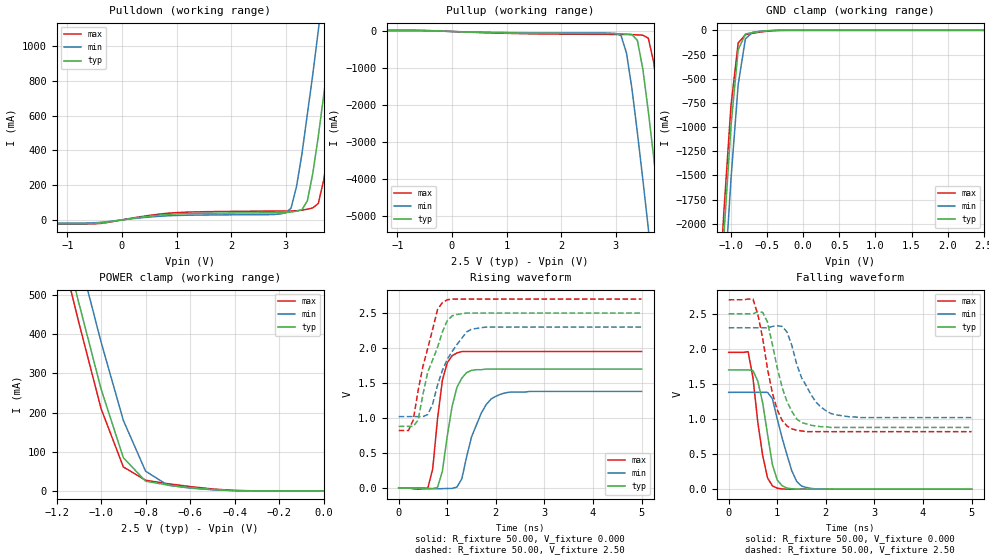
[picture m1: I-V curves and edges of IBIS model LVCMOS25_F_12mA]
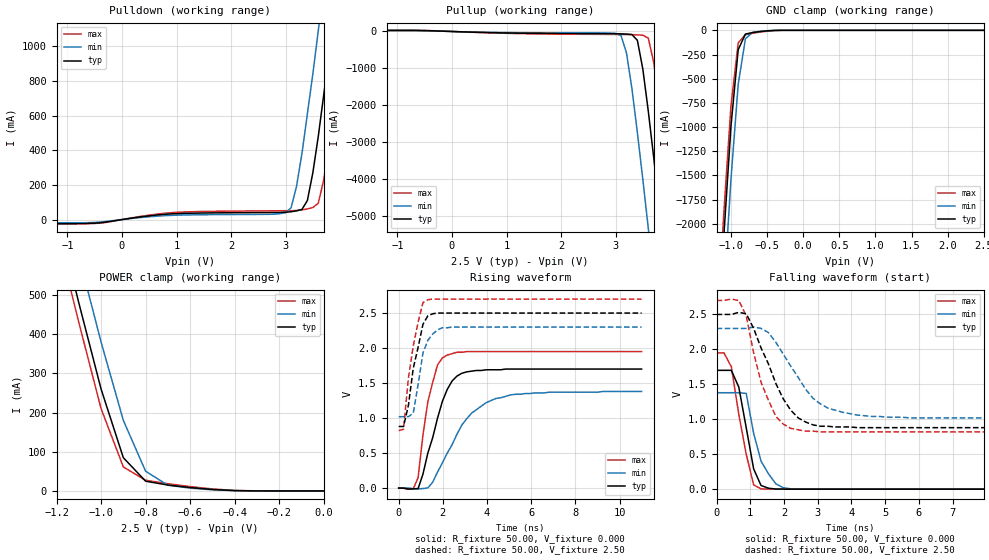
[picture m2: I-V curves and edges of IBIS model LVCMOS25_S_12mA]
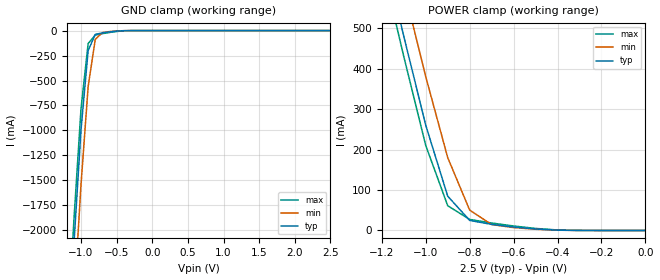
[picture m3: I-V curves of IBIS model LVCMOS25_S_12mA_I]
| / 7\'7
| \ \   Xilinx Inc.
| / /
| \_\/.\   IBIS Models for Spartan-3
| IBIS file spartan3.ibs created by appending individual files created
| using s2ibis2 version 1.1 North Carolina State University
| Electronics Research Laboratory 1995
[IBIS ver]   3.2
[File name]   ANN.ibs
[File Rev]   3.4.4
[Date]   Thu Dec 24 00:11:57 2020
[Source]   Spartan-3 layout and silicon models.
[Notes]   Xilinx Spartan-3 I/O IBIS models.
   To accurately model package parasitics, please follow the
   instructions at:  http://www.xilinx.com/xlnx/
   xil_ans_display.jsp?getPagePath=11754
   LVDS and LVPECL drivers require the use of external
   termination resistors to provide the correct voltage levels.
   For more information, refer to the Spartan-3 documentation.
   NOTE: This file is compliant with IBIS Version 3.2, but it
   may not implement all approved 3.2 features.
   NOTE:  Newer versions of the buffer models may be available.
   Check the web (http://www.xilinx.com/support/sw_ibis.htm) for
   the latest file revision.  However, please be aware that the
   web files are not compatible for use with IBISWriter, and
   must be manually annotated, should their use be preferred.
[Disclaimer] The data in these models is derived from HSPICE simulations
                 using modeling information extracted from the target process.
                 While a great deal of care has been taken to provide
                 information that is accurate, this model is considered
                 PRELIMINARY as it has not been verified by actual silicon
                 measurement.
[Copyright]   Copyright 2004 Xilinx Inc., All rights reserved.
|   Component Spartan-3
[Component]   Spartan-3
[Manufacturer]   Xilinx, Inc.
[Package]
| For Package Type pq208
| variable   typ   min   max
R_pkg   0.2m   0.199m   0.2m
L_pkg   14.5nH   12.8nH   16.2nH
C_pkg   1.8pF   1.6pF   2.0pF
[Pin]  signal_name   model_name   R_pin   L_pin   C_pin
P79   clk   LVCMOS25_S_12mA_I
P94   rst   LVCMOS25_S_12mA_I
P182   result<10>   LVCMOS25_S_12mA_O
P147   result<11>   LVCMOS25_S_12mA_O
P130   result<20>   LVCMOS25_S_12mA_O
P19   result<12>   LVCMOS25_S_12mA_O
P196   result<21>   LVCMOS25_S_12mA_O
P137   result<13>   LVCMOS25_S_12mA_O
P167   result<30>   LVCMOS25_S_12mA_O
P190   result<22>   LVCMOS25_S_12mA_O
P144   result<14>   LVCMOS25_S_12mA_O
P204   result<31>   LVCMOS25_S_12mA_O
P191   result<23>   LVCMOS25_S_12mA_O
P148   result<15>   LVCMOS25_S_12mA_O
P185   result<40>   LVCMOS25_S_12mA_O
P205   result<32>   LVCMOS25_S_12mA_O
P175   result<24>   LVCMOS25_S_12mA_O
P146   result<16>   LVCMOS25_S_12mA_O
P187   result<41>   LVCMOS25_S_12mA_O
P154   result<33>   LVCMOS25_S_12mA_O
P169   result<25>   LVCMOS25_S_12mA_O
P168   result<17>   LVCMOS25_S_12mA_O
P27   result<50>   LVCMOS25_S_12mA_O
P194   result<42>   LVCMOS25_S_12mA_O
P150   result<34>   LVCMOS25_S_12mA_O
P178   result<26>   LVCMOS25_S_12mA_O
P184   result<18>   LVCMOS25_S_12mA_O
P10   result<51>   LVCMOS25_S_12mA_O
P9   result<43>   LVCMOS25_S_12mA_O
P149   result<35>   LVCMOS25_S_12mA_O
P7   result<27>   LVCMOS25_S_12mA_O
P181   result<19>   LVCMOS25_S_12mA_O
P20   result<60>   LVCMOS25_S_12mA_O
P171   result<52>   LVCMOS25_S_12mA_O
P13   result<44>   LVCMOS25_S_12mA_O
P189   result<36>   LVCMOS25_S_12mA_O
P199   result<28>   LVCMOS25_S_12mA_O
P22   result<61>   LVCMOS25_S_12mA_O
P11   result<53>   LVCMOS25_S_12mA_O
P198   result<45>   LVCMOS25_S_12mA_O
P176   result<37>   LVCMOS25_S_12mA_O
P200   result<29>   LVCMOS25_S_12mA_O
P85   result<62>   LVCMOS25_S_12mA_O
P197   result<54>   LVCMOS25_S_12mA_O
P166   result<46>   LVCMOS25_S_12mA_O
P183   result<38>   LVCMOS25_S_12mA_O
P21   result<63>   LVCMOS25_S_12mA_O
P16   result<55>   LVCMOS25_S_12mA_O
P143   result<47>   LVCMOS25_S_12mA_O
P152   result<39>   LVCMOS25_S_12mA_O
P12   result<56>   LVCMOS25_S_12mA_O
P4   result<48>   LVCMOS25_S_12mA_O
P15   result<57>   LVCMOS25_S_12mA_O
P3   result<49>   LVCMOS25_S_12mA_O
P18   result<58>   LVCMOS25_S_12mA_O
P172   result<59>   LVCMOS25_S_12mA_O
P128   start   LVCMOS25_S_12mA_I
P126   result<0>   LVCMOS25_S_12mA_O
P133   result<1>   LVCMOS25_S_12mA_O
P138   result<2>   LVCMOS25_S_12mA_O
P139   result<3>   LVCMOS25_S_12mA_O
P24   result<4>   LVCMOS25_S_12mA_O
P141   result<5>   LVCMOS25_S_12mA_O
P140   result<6>   LVCMOS25_S_12mA_O
P135   result<7>   LVCMOS25_S_12mA_O
P180   result<8>   LVCMOS25_S_12mA_O
P132   result<9>   LVCMOS25_S_12mA_O
P1   GND   GND
P2   IO_L01P_7/VRN_7   NC
P5   IO_L16N_7   NC
P6   VCCO_7   POWER
P8   GND   GND
P14   GND   GND
P17   VCCAUX   POWER
P23   VCCO_7   POWER
P25   GND   GND
P26   IO_L40P_7   NC
P28   IO_L40P_6/VREF_6   NC
P29   IO_L40N_6   NC
P30   GND   GND
P31   IO_L39P_6   NC
P32   VCCO_6   POWER
P33   IO_L39N_6   NC
P34   IO_L24P_6   NC
P35   IO_L24N_6/VREF_6   NC
P36   IO_L23P_6   NC
P37   IO_L23N_6   NC
P38   VCCAUX   POWER
P39   IO_L22P_6   NC
P40   IO_L22N_6   NC
P41   GND   GND
P42   IO_L21P_6   NC
P43   IO_L21N_6   NC
P44   IO_L20P_6   NC
P45   IO_L20N_6   NC
P46   IO_L19P_6   NC
P47   GND   GND
P48   IO_L19N_6   NC
P49   VCCO_6   POWER
P50   IO/VREF_6   NC
P51   IO_L01P_6/VRN_6   NC
P52   IO_L01N_6/VRP_6   NC
P53   GND   GND
P54   M1   LVCMOS25_F_12mA
P55   M0   LVCMOS25_F_12mA
P56   M2   LVCMOS25_F_12mA
P57   CS_B   LVCMOS25_F_12mA
P58   RDWR_B   LVCMOS25_F_12mA
P59   GND   GND
P60   VCCO_5   POWER
P61   IO_L10P_5/VRN_5   NC
P62   IO_L10N_5/VRP_5   NC
P63   IO   NC
P64   IO_L27P_5   NC
P65   IO_L27N_5/VREF_5   NC
P66   GND   GND
P67   D7   LVCMOS25_F_12mA
P68   D6   LVCMOS25_F_12mA
P69   VCCAUX   POWER
P70   VCCINT   POWER
P71   IO   NC
P72   D5   LVCMOS25_F_12mA
P73   VCCO_5   POWER
P74   D4   LVCMOS25_F_12mA
P75   GND   GND
P76   GCLK2   LVCMOS25_F_12mA
P77   GCLK3   LVCMOS25_F_12mA
P78   IO/VREF_5   NC
P80   GCLK1   LVCMOS25_F_12mA
P81   DOUT/BUSY   NC
P82   GND   GND
P83   INIT_B   LVCMOS25_F_12mA
P84   VCCO_4   POWER
P86   D3   LVCMOS25_F_12mA
P87   D2   LVCMOS25_F_12mA
P88   VCCINT   POWER
P89   VCCAUX   POWER
P90   D1   LVCMOS25_F_12mA
P91   GND   GND
P92   DIN/D0   LVCMOS25_F_12mA
P93   IO   NC
P95   IO_L25N_4   NC
P96   IO/VREF_4   NC
P97   IO   NC
P98   VCCO_4   POWER
P99   GND   GND
P100   IO_L01P_4/VRN_4   NC
P101   IO_L01N_4/VRP_4   NC
P102   IO/VREF_4   NC
P103   DONE   LVCMOS25_F_12mA
P104   CCLK   LVCMOS25_S_12mA
P105   GND   GND
P106   IO_L01P_3/VRN_3   NC
P107   IO_L01N_3/VRP_3   NC
P108   IO_L17P_3/VREF_3   NC
P109   IO_L17N_3   NC
P110   VCCO_3   POWER
P111   IO_L19P_3   NC
P112   GND   GND
P113   IO_L19N_3   NC
P114   IO_L20P_3   NC
P115   IO_L20N_3   NC
P116   IO_L21P_3   NC
P117   IO_L21N_3   NC
P118   GND   GND
P119   IO_L22P_3   NC
P120   IO_L22N_3   NC
P121   VCCAUX   POWER
P122   IO_L23P_3/VREF_3   NC
P123   IO_L23N_3   NC
P124   IO_L24P_3   NC
P125   IO_L24N_3   NC
P127   VCCO_3   POWER
P129   GND   GND
P131   IO_L40N_3/VREF_3   NC
P134   GND   GND
P136   VCCO_2   POWER
P142   VCCAUX   POWER
P145   GND   GND
P151   GND   GND
P153   VCCO_2   POWER
P155   IO_L01P_2/VRN_2   NC
P156   IO_L01N_2/VRP_2   NC
P157   GND   GND
P158   TDO   LVCMOS25_F_12mA
P159   TCK   LVCMOS25_F_12mA
P160   TMS   LVCMOS25_F_12mA
P161   IO_L01P_1/VRN_1   NC
P162   IO_L01N_1/VRP_1   NC
P163   GND   GND
P164   VCCO_1   POWER
P165   IO_L10P_1   NC
P170   GND   GND
P173   VCCAUX   POWER
P174   VCCINT   POWER
P177   VCCO_1   POWER
P179   GND   GND
P186   GND   GND
P188   VCCO_0   POWER
P192   VCCINT   POWER
P193   VCCAUX   POWER
P195   GND   GND
P201   VCCO_0   POWER
P202   GND   GND
P203   IO_L01P_0/VRN_0   NC
P206   HSWAP_EN   LVCMOS25_F_12mA
P207   PROG_B   LVCMOS25_F_12mA
P208   TDI   LVCMOS25_F_12mA
[Diff Pin]   inv_pin   vdiff   tdelay_typ   tdelay_min   tdelay_max
| Models and submodels in the file (4): LVCMOS25_F_12mA (I/O), LVCMOS25_S_12mA (I/O), LVCMOS25_S_12mA_I (Input), LVCMOS25_S_12mA_O (Output)
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|   Model LVCMOS25_F_12mA
[Model]   LVCMOS25_F_12mA
Model_type   I/O
Polarity   Non-Inverting
Enable   Active-Low
Vinl =   0.70V
Vinh =   1.70V
Vmeas =   1.25V
Cref =  0.000F
Rref =   1.00M
Vref =  0.000V
C_comp   6.38pF   4.60pF   8.23pF
[Temperature Range]   25.00   85.00   0.000
[Voltage Range]   2.50V   2.30V   2.70V
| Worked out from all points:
|   slope of the pulldown table from 0 to 0.375 V, typ, clamps not added: 22.4 ohm
|   slope of the pullup table from 0 to 0.375 V, typ, clamps not added: 20.9 ohm
|   GND clamp passes 1 mA (typ) near -0.38 V on its own axis
|   POWER clamp passes 1 mA (typ) near -0.41 V on its own axis
|   rising waveform, R_fixture 50.00, V_fixture 0.000: 20-80 % time 250ps typ, 383ps min, 191ps max; typ from 0 V to 1.7 V
|   rising waveform, R_fixture 50.00, V_fixture 2.50: 20-80 % time 412ps typ, 466ps min, 365ps max; typ from 0.88 V to 2.5 V
|   falling waveform, R_fixture 50.00, V_fixture 0.000: 20-80 % time 246ps typ, 329ps min, 223ps max; typ from 1.7 V to 0 V
|   falling waveform, R_fixture 50.00, V_fixture 2.50: 20-80 % time 369ps typ, 462ps min, 324ps max; typ from 2.5 V to 0.88 V
[Pulldown]
| voltage   I(typ)   I(min)   I(max)
-2.5V     -22.79mA   -18.33mA   -24.32mA
3V        42.13mA    39.99mA    51.17mA
3.1V      45.16mA    67.34mA    51.44mA
3.2V      50.35mA    190mA      52.36mA
3.4V      110mA      610mA      61.47mA
3.5V      270mA      840mA      69.07mA
3.6V      480mA      1.09A      94.52mA
3.7V      720mA      1.34A      230mA
3.8V      960mA      1.59A      440mA
4V        1.47A      2.1A       920mA
4.2V      1.98A      2.62A      1.42A
5V        4.06A      4.7A       3.49A
[Pullup]
| voltage   I(typ)   I(min)   I(max)
-2.5V     29.39mA    22.89mA    32.78mA
3.1V      -62.94mA   -110mA     -80.48mA
3.2V      -69.54mA   -580mA     -81.46mA
3.3V      -83.32mA   -1.55A     -84.45mA
3.4V      -240mA     -2.74A     -91.48mA
3.5V      -1.02A     -4.01A     -100mA
3.6V      -2.16A     -5.33A     -180mA
3.7V      -3.42A     -6.68A     -840mA
3.8V      -4.74A     -8.05A     -1.95A
4V        -7.47A     -10.81A    -4.52A
4.2V      -10.25A    -13.6A     -7.24A
5V        -21.56A    -24.91A    -18.51A
[GND_clamp]
| voltage   I(typ)   I(min)   I(max)
-2.5V     -21.56A    -22.07A    -21.35A
-1.2V     -3.41A     -4.01A     -3.17A
-1.1V     -2.14A     -2.73A     -1.9A
-1V       -990mA     -1.54A     -780mA
-900mV    -200mA     -560mA     -130mA
-800mV    -38.51mA   -87.42mA   -44.56mA
-700mV    -22.72mA   -20.52mA   -30.56mA
-400mV    -1.21mA    -970uA     -2.67mA
2.5V      19.29nA    8.49uA     24.01nA
[POWER_clamp]
| voltage   I(typ)   I(min)   I(max)
-2.5V     4.06A      4.18A      4.02A
-1.2V     710mA      840mA      660mA
-1.1V     480mA      600mA      430mA
-1V       260mA      380mA      210mA
-900mV    84.79mA    180mA      61.18mA
-800mV    24.88mA    50.29mA    27.26mA
-700mV    15.03mA    14.55mA    18.43mA
-600mV    8.66mA     7.1mA      11.09mA
-400mV    790uA      730uA      1.23mA
0V        19.29nA    79.37nA    32.11nA
[Ramp]
dV/dt_r   1.02/0.24n   0.83/0.36n   1.17/0.19n
dV/dt_f   0.97/0.36n   0.77/0.46n   1.13/0.31n
R_load = 50.00
[Rising Waveform]
R_fixture = 50.00
V_fixture = 0.000
| time   V(typ)   V(min)   V(max)
0s        0V         1.57uV     0V
600ps     -12.38mV   -4.86mV    -2.14mV
700ps     -9.94mV    -10.81mV   270mV
900ps     240mV      -10.52mV   1.54V
1.1ns     1.17V      -6.78mV    1.89V
1.2ns     1.44V      12.6mV     1.93V
1.4ns     1.65V      450mV      1.95V
1.7ns     1.69V      1.07V      1.95V
2ns       1.7V       1.31V      1.95V
5ns       1.7V       1.38V      1.95V
[Rising Waveform]
R_fixture = 50.00
V_fixture = 2.50
V_fixture_min = 2.30
V_fixture_max = 2.70
| time   V(typ)   V(min)   V(max)
0s        880mV      1.02V      820mV
200ps     880mV      1.02V      820mV
300ps     880mV      1.02V      970mV
400ps     970mV      1.02V      1.39V
600ps     1.66V      1.05V      2V
700ps     1.83V      1.2V       2.27V
800ps     2.01V      1.47V      2.55V
1ns       2.39V      1.84V      2.69V
1.5ns     2.5V       2.27V      2.7V
5ns       2.5V       2.3V       2.7V
[Falling Waveform]
R_fixture = 50.00
V_fixture = 0.000
| time   V(typ)   V(min)   V(max)
0s        1.7V       1.38V      1.95V
400ps     1.7V       1.38V      1.96V
500ps     1.69V      1.38V      1.59V
600ps     1.54V      1.38V      950mV
800ps     780mV      1.38V      160mV
900ps     350mV      1.29V      47.26mV
1ns       130mV      1V         14.08mV
1.3ns     4.83mV     260mV      220uV
1.5ns     330uV      43.95mV    6.05uV
5ns       0V         0V         0V
[Falling Waveform]
R_fixture = 50.00
V_fixture = 2.50
V_fixture_min = 2.30
V_fixture_max = 2.70
| time   V(typ)   V(min)   V(max)
0s        2.5V       2.3V       2.7V
500ps     2.5V       2.3V       2.71V
700ps     2.52V      2.3V       2.15V
800ps     2.38V      2.3V       1.71V
1ns       1.73V      2.33V      1.13V
1.3ns     1.11V      2.05V      860mV
1.5ns     950mV      1.59V      830mV
1.7ns     910mV      1.34V      820mV
2.1ns     880mV      1.08V      820mV
5ns       880mV      1.02V      820mV
|   Model LVCMOS25_S_12mA
[Model]   LVCMOS25_S_12mA
Model_type   I/O
Polarity   Non-Inverting
Enable   Active-Low
Vinl =   0.70V
Vinh =   1.70V
Vmeas =   1.25V
Cref =  0.000F
Rref =   1.00M
Vref =  0.000V
C_comp   6.38pF   4.60pF   8.23pF
[Temperature Range]   25.00   85.00   0.000
[Voltage Range]   2.50V   2.30V   2.70V
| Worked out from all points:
|   slope of the pulldown table from 0 to 0.375 V, typ, clamps not added: 22.4 ohm
|   slope of the pullup table from 0 to 0.375 V, typ, clamps not added: 20.9 ohm
|   GND clamp passes 1 mA (typ) near -0.38 V on its own axis
|   POWER clamp passes 1 mA (typ) near -0.41 V on its own axis
|   rising waveform, R_fixture 50.00, V_fixture 0.000: 20-80 % time 933ps typ, 1.61ns min, 617ps max; typ from 0 V to 1.7 V
|   rising waveform, R_fixture 50.00, V_fixture 2.50: 20-80 % time 541ps typ, 469ps min, 523ps max; typ from 0.88 V to 2.5 V
|   falling waveform, R_fixture 50.00, V_fixture 0.000: 20-80 % time 383ps typ, 489ps min, 434ps max; typ from 1.7 V to 0 V
|   falling waveform, R_fixture 50.00, V_fixture 2.50: 20-80 % time 901ps typ, 1.09ns min, 666ps max; typ from 2.5 V to 0.88 V
[Pulldown]
| voltage   I(typ)   I(min)   I(max)
-2.5V     -23.3mA    -18.33mA   -26.2mA
3V        42.13mA    39.99mA    51.11mA
3.1V      45.16mA    67.34mA    51.38mA
3.2V      50.35mA    190mA      52.3mA
3.4V      110mA      610mA      61.42mA
3.5V      270mA      840mA      69.02mA
3.6V      480mA      1.09A      94.47mA
3.7V      720mA      1.34A      230mA
3.8V      960mA      1.59A      440mA
4V        1.47A      2.1A       920mA
4.2V      1.98A      2.62A      1.42A
5V        4.06A      4.7A       3.49A
[Pullup]
| voltage   I(typ)   I(min)   I(max)
-2.5V     29.39mA    22.89mA    32.78mA
3.1V      -62.94mA   -110mA     -80.48mA
3.2V      -69.54mA   -580mA     -81.46mA
3.3V      -83.32mA   -1.55A     -84.45mA
3.4V      -240mA     -2.74A     -91.48mA
3.5V      -1.02A     -4.01A     -100mA
3.6V      -2.16A     -5.33A     -180mA
3.7V      -3.42A     -6.68A     -840mA
3.8V      -4.74A     -8.05A     -1.95A
4V        -7.47A     -10.81A    -4.52A
4.2V      -10.25A    -13.6A     -7.24A
5V        -21.56A    -24.91A    -18.51A
[GND_clamp]
| voltage   I(typ)   I(min)   I(max)
-2.5V     -21.56A    -22.07A    -21.35A
-1.2V     -3.41A     -4.01A     -3.17A
-1.1V     -2.14A     -2.73A     -1.9A
-1V       -990mA     -1.54A     -780mA
-900mV    -200mA     -560mA     -130mA
-800mV    -38.51mA   -87.42mA   -44.56mA
-700mV    -22.72mA   -20.52mA   -30.56mA
-400mV    -1.21mA    -970uA     -2.67mA
2.5V      19.29nA    8.49uA     24.01nA
[POWER_clamp]
| voltage   I(typ)   I(min)   I(max)
-2.5V     4.06A      4.18A      4.02A
-1.2V     710mA      840mA      660mA
-1.1V     480mA      600mA      430mA
-1V       260mA      380mA      210mA
-900mV    84.79mA    180mA      61.18mA
-800mV    24.88mA    50.29mA    27.26mA
-700mV    15.03mA    14.55mA    18.43mA
-600mV    8.66mA     7.1mA      11.09mA
-400mV    790uA      730uA      1.23mA
0V        19.29nA    79.37nA    32.11nA
[Ramp]
dV/dt_r   1.02/0.87n   0.83/1.68n   1.17/0.58n
dV/dt_f   0.97/0.82n   0.77/1.19n   1.13/0.63n
R_load = 50.00
[Rising Waveform]
R_fixture = 50.00
V_fixture = 0.000
| time   V(typ)   V(min)   V(max)
0s        0V         1.57uV     0V
660ps     -11.67mV   -6.64mV    -10.51mV
880ps     -6.84mV    -12.52mV   150mV
1.32ns    500mV      2.32mV     1.23V
1.76ns    1V         230mV      1.76V
2.2ns     1.41V      500mV      1.9V
2.64ns    1.6V       770mV      1.94V
3.3ns     1.67V      1.07V      1.95V
4.4ns     1.69V      1.28V      1.95V
11ns      1.7V       1.38V      1.95V
[Rising Waveform]
R_fixture = 50.00
V_fixture = 2.50
V_fixture_min = 2.30
V_fixture_max = 2.70
| time   V(typ)   V(min)   V(max)
0s        880mV      1.02V      820mV
220ps     880mV      1.02V      840mV
440ps     1.18V      1.02V      1.57V
660ps     1.71V      1.07V      2.03V
880ps     2.01V      1.48V      2.37V
1.1ns     2.34V      1.93V      2.65V
1.32ns    2.46V      2.11V      2.69V
1.76ns    2.5V       2.26V      2.7V
2.42ns    2.5V       2.3V       2.7V
11ns      2.5V       2.3V       2.7V
[Falling Waveform]
R_fixture = 50.00
V_fixture = 0.000
| time   V(typ)   V(min)   V(max)
0s        1.7V       1.38V      1.95V
220ps     1.7V       1.38V      1.95V
440ps     1.7V       1.38V      1.75V
660ps     1.46V      1.38V      1.07V
880ps     880mV      1.37V      500mV
1.1ns     290mV      800mV      61.49mV
1.32ns    52.25mV    400mV      3.4mV
1.76ns    1.88mV     75.37mV    710uV
2.2ns     640uV      4.99mV     270uV
11ns      160nV      1.61uV     230nV
[Falling Waveform]
R_fixture = 50.00
V_fixture = 2.50
V_fixture_min = 2.30
V_fixture_max = 2.70
| time   V(typ)   V(min)   V(max)
0s        2.5V       2.3V       2.7V
660ps     2.53V      2.3V       2.7V
880ps     2.51V      2.3V       2.48V
1.32ns    2.02V      2.3V       1.53V
1.76ns    1.51V      2.1V       1.04V
2.2ns     1.13V      1.76V      870mV
2.64ns    960mV      1.43V      830mV
3.08ns    900mV      1.22V      820mV
4.18ns    880mV      1.06V      820mV
11ns      880mV      1.02V      820mV
|   Model LVCMOS25_S_12mA_I
[Model]   LVCMOS25_S_12mA_I
Model_type   Input
Polarity   Non-Inverting
Vinl =   0.70V
Vinh =   1.70V
C_comp   6.38pF   4.60pF   8.23pF
[Temperature Range]   25.00   85.00   0.000
[Voltage Range]   2.50V   2.30V   2.70V
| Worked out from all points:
|   GND clamp passes 1 mA (typ) near -0.38 V on its own axis
|   POWER clamp passes 1 mA (typ) near -0.41 V on its own axis
[GND_clamp]
| voltage   I(typ)   I(min)   I(max)
-2.5V     -21.56A    -22.07A    -21.35A
-1.2V     -3.41A     -4.01A     -3.17A
-1.1V     -2.14A     -2.73A     -1.9A
-1V       -990mA     -1.54A     -780mA
-900mV    -200mA     -560mA     -130mA
-800mV    -38.51mA   -87.42mA   -44.56mA
-700mV    -22.72mA   -20.52mA   -30.56mA
-400mV    -1.21mA    -970uA     -2.67mA
2.5V      19.29nA    8.49uA     24.01nA
[POWER_clamp]
| voltage   I(typ)   I(min)   I(max)
-2.5V     4.06A      4.18A      4.02A
-1.2V     710mA      840mA      660mA
-1.1V     480mA      600mA      430mA
-1V       260mA      380mA      210mA
-900mV    84.79mA    180mA      61.18mA
-800mV    24.88mA    50.29mA    27.26mA
-700mV    15.03mA    14.55mA    18.43mA
-600mV    8.66mA     7.1mA      11.09mA
-400mV    790uA      730uA      1.23mA
0V        19.29nA    79.37nA    32.11nA
